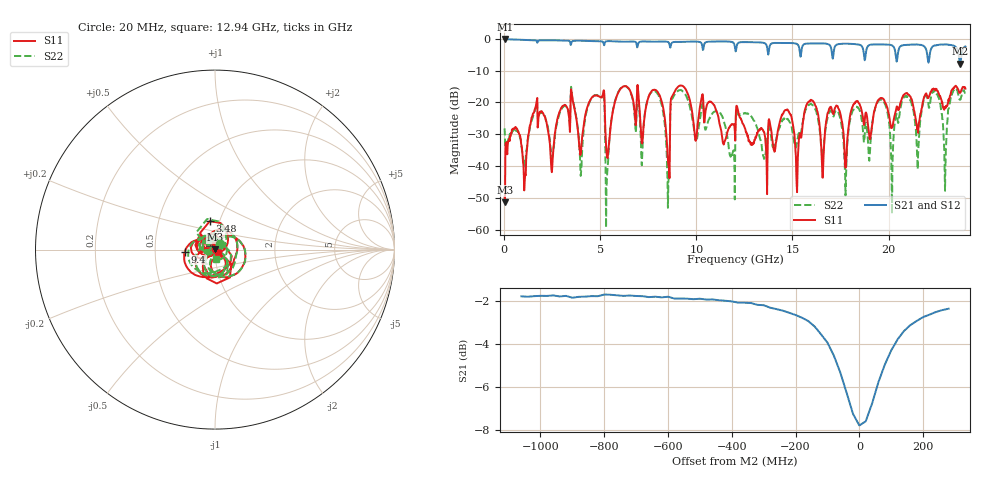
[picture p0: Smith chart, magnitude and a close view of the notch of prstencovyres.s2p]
#  HZ  S  MA  R  50.00
! Rohde & Schwarz ZVA67 4Ports - Version 4.11 - 1305.7002k04 SN: 101051
! Date: 2023-04-26 10:14:04
! Measurements: S11 S21 S12 S22
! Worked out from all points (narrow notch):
!   1200 points, 20 MHz to 24 GHz, reference 50 ohm
!   highest |S21| = -0.07 dB at 40 MHz (marker M1); lowest = -7.8 dB at 23.72 GHz (marker M2)
!   notch at M2: 6.7 dB deep, 179 MHz wide at half that depth
!   lowest |S11| = -51.4 dB at 40 MHz (marker M3), VSWR 1.01, Z = 50.3 + j0.102 ohm
!   |S11| at or under -10 dB: start of sweep to end of sweep
!   |S22| runs from -59.4 to -14.8 dB; largest |S21 - S12| = 0.035
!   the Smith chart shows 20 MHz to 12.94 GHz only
!   S11 on the Smith chart (normalised r, x): 20 MHz: 1.01, +0.00; 3.48 GHz: 0.90, +0.29; 9.4 GHz: 0.71, -0.02; 12.94 GHz: 1.03, -0.03
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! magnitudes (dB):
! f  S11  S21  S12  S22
! 20 MHz  -49.7  -0.1  -0.1  -28.1
! 40 MHz  -51.4  -0.1  -0.1  -31.6
! 3.48 GHz  -15.8  -1.7  -1.7  -15.1
! 4.02 GHz  -33.3  -0.6  -0.6  -40.6
! 4.64 GHz  -18.0  -0.7  -0.7  -18.1
! 5.1 GHz  -18.2  -0.8  -0.8  -18.1
! 5.38 GHz  -37.5  -0.7  -0.7  -40.7
! 6.02 GHz  -15.9  -0.9  -0.9  -15.9
! 7.18 GHz  -32.9  -0.8  -0.8  -36.9
! 8.02 GHz  -17.0  -0.9  -0.9  -17.6
! 8.5 GHz  -36.0  -0.9  -0.9  -45.5
! 8.78 GHz  -17.7  -1.0  -1.0  -18.5
! 9.4 GHz  -15.5  -0.9  -0.9  -17.2
! 12.02 GHz  -32.0  -3.2  -3.2  -35.0
! 12.94 GHz  -33.1  -1.1  -1.1  -25.1
! 14.7 GHz  -22.4  -1.3  -1.3  -25.0
! 15.24 GHz  -48.2  -1.6  -1.6  -32.3
! 16.02 GHz  -19.4  -1.4  -1.4  -20.7
! 16.56 GHz  -43.6  -1.4  -1.4  -38.5
! 20.02 GHz  -23.8  -1.8  -1.8  -25.9
! 23.72 GHz  -17.0  -7.8  -7.8  -19.1
! 24 GHz  -15.7  -2.4  -2.4  -17.0
